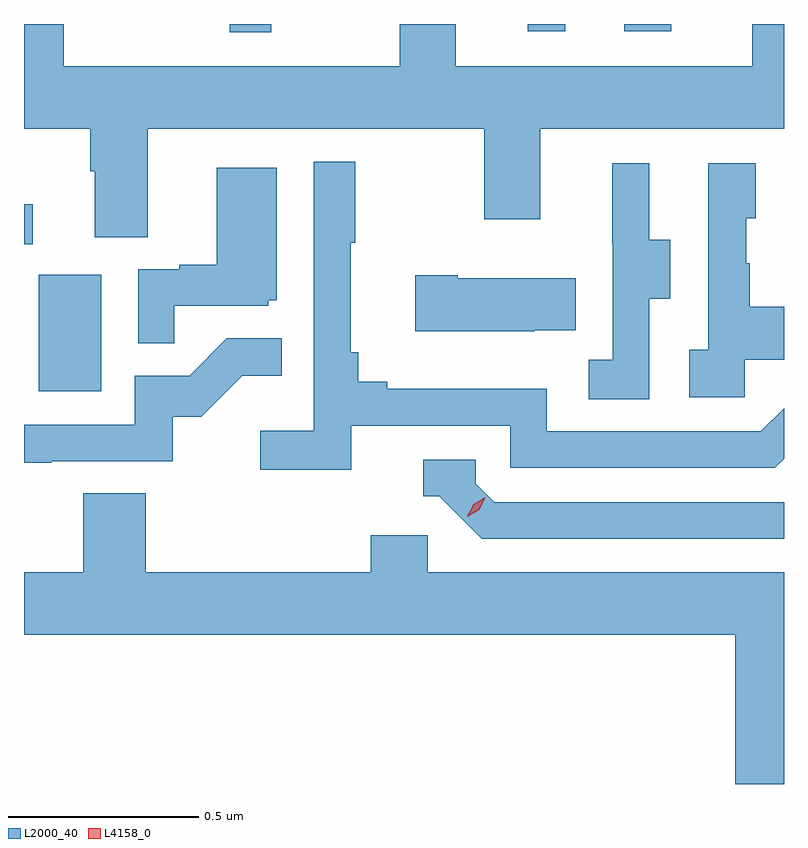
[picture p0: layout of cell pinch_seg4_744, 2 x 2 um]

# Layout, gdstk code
import gdstk
lib = gdstk.Library(unit=1e-6, precision=1e-09)
def R(c, l, rs):  # rectangles x0, y0, x1, y1
    for r in rs: c.add(gdstk.rectangle(r[:2], r[2:], *l))
def P(c, l, *ps):  # polygons
    for p in ps: c.add(gdstk.Polygon(p, *l))
L2000_40 = (2000, 40)
L4158_0 = (4158, 0)

pinch_seg4_744 = lib.new_cell('pinch_seg4_744')
R(pinch_seg4_744, L2000_40, [(830.432,818.772,830.596,819.079), (830.393,819.159,830.416,819.265), (830.934,819.717,831.043,819.739), (831.719,819.72,831.817,819.739), (831.972,819.72,832.096,819.739)])
P(pinch_seg4_744, L2000_40, [(830.719,819.464),(831.604,819.464),(831.604,819.225),(831.751,819.225),(831.751,819.464),(832.393,819.464),(832.393,819.739),(832.31,819.739),(832.31,819.628),(831.529,819.628),(831.529,819.739),(831.382,819.739),(831.382,819.628),(830.497,819.628),(830.497,819.739),(830.393,819.739),(830.393,819.464),(830.567,819.464),(830.567,819.352),(830.579,819.352),(830.579,819.178),(830.719,819.178)],
  [(831.254,818.682),(831.672,818.682),(831.672,818.571),(832.369,818.571),(832.393,818.595),(832.393,818.728),(832.332,818.667),(831.768,818.667),(831.768,818.779),(831.349,818.779),(831.349,818.798),(831.272,818.798),(831.272,818.875),(831.253,818.875),(831.253,819.163),(831.265,819.163),(831.265,819.376),(831.156,819.376),(831.156,818.668),(831.015,818.668),(831.015,818.566),(831.254,818.566)],
  [(832.29,818.855),(832.393,818.855),(832.393,818.995),(832.303,818.995),(832.303,819.11),(832.293,819.11),(832.293,819.228),(832.318,819.228),(832.318,819.373),(832.194,819.373),(832.194,818.882),(832.143,818.882),(832.143,818.757),(832.29,818.757)],
  [(832.038,819.016),(832.093,819.016),(832.093,819.171),(832.039,819.171),(832.039,819.373),(831.941,819.373),(831.941,819.159),(831.942,819.159),(831.942,818.855),(831.879,818.855),(831.879,818.752),(832.038,818.752)],
  [(830.789,818.997),(831.036,818.997),(831.036,819.012),(831.058,819.012),(831.058,819.361),(830.9,819.361),(830.9,819.106),(830.801,819.106),(830.801,819.093),(830.694,819.093),(830.694,818.899),(830.789,818.899)],
  [(831.737,818.933),(831.845,818.933),(831.845,819.07),(831.535,819.07),(831.535,819.078),(831.423,819.078),(831.423,818.93),(831.737,818.93)],
  [(830.465,818.589),(830.784,818.589),(830.784,818.706),(830.86,818.706),(830.967,818.813),(831.071,818.813),(831.071,818.912),(830.927,818.912),(830.829,818.814),(830.685,818.814),(830.685,818.685),(830.393,818.685),(830.393,818.584),(830.465,818.584)],
  [(832.393,818.481),(831.63,818.481),(831.582,818.529),(831.582,818.592),(831.443,818.592),(831.443,818.496),(831.486,818.496),(831.597,818.385),(832.393,818.385)],
  [(832.393,818.296),(831.456,818.296),(831.456,818.394),(831.305,818.394),(831.305,818.296),(830.714,818.296),(830.714,818.504),(830.549,818.504),(830.549,818.296),(830.393,818.296),(830.393,818.132),(832.265,818.132),(832.265,817.739),(832.393,817.739)])
P(pinch_seg4_744, L4158_0, [(831.559,818.442),(831.559,818.443),(831.576,818.475),(831.607,818.494),(831.607,818.494),(831.607,818.494),(831.591,818.461),(831.56,818.442)])

lib.write_gds('pinch_seg4_744.gds')
